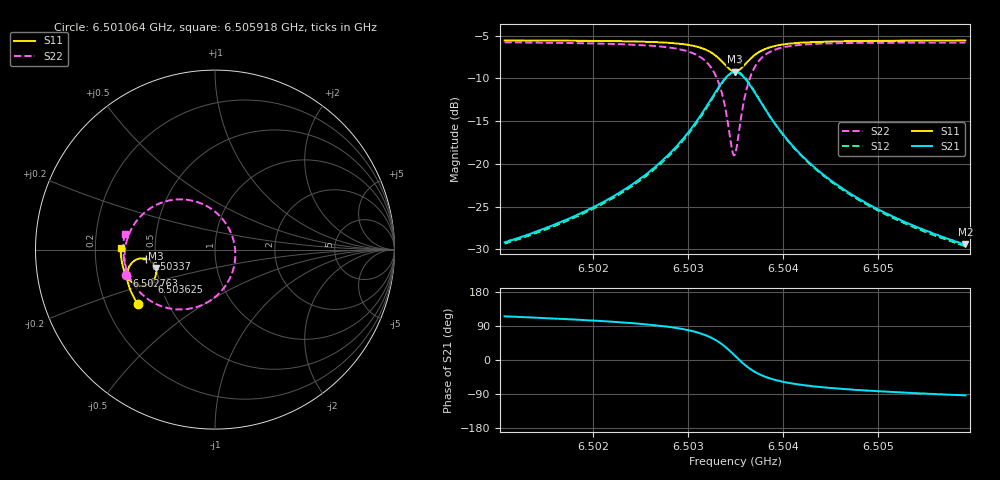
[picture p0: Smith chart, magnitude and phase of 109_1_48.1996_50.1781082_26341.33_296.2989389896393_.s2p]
#  HZ  S  RI  R  50.00
! Rohde & Schwarz Vector Network Analyzer
! Rohde-Schwarz,ZNB20-2Port,1311601062101988,3.16
! Created: UTC 3/20/2024, 11:40:54 AM
! freq[Hz]  re:S11  im:S11  re:S21  im:S21  re:S12  im:S12  re:S22  im:S22
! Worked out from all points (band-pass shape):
!   401 points, 6.501064 GHz to 6.505918 GHz, reference 50 ohm
!   highest |S21| = -9.28 dB at 6.503491 GHz (marker M1); lowest = -29.4 dB at 6.505918 GHz (marker M2)
!   |S21| within 3 dB of the highest: 6.503248 GHz to 6.503734 GHz (485.9 kHz wide, 0.00747 % of centre)
!   lowest |S11| = -9.2 dB at 6.503491 GHz (marker M3), VSWR 2.06, Z = 24.7 - j5.78 ohm
!   |S11| at or under -10 dB: nowhere
!   |S22| runs from -19.0 to -5.8 dB; largest |S21 - S12| = 0.012
!   S11 on the Smith chart (normalised r, x): 6.501064 GHz: 0.34, -0.28; 6.502763 GHz: 0.33, -0.13; 6.50337 GHz: 0.44, -0.05; 6.503625 GHz: 0.45, -0.19; 6.505918 GHz: 0.31, +0.01
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6.5010644e9  -0.4315 -0.3018  -0.0148 0.0314  -0.0131 0.0315  -0.4931 -0.1428
6.5018774e9  -0.4656 -0.2406  -0.014 0.0499  -0.0115 0.0493  -0.5043 -0.0542
6.5023263e9  -0.4809 -0.2  -0.0109 0.0699  -0.00781 0.0686  -0.4998 0.012
6.5026903e9  -0.4889 -0.1586  -0.00112 0.1004  0.00253 0.0979  -0.4783 0.0878
6.5027632e9  -0.4895 -0.1485  0.00294 0.1093  0.00672 0.1064  -0.4696 0.1076
6.5029694e9  -0.4856 -0.1151  0.0247 0.1435  0.0283 0.1391  -0.4242 0.1753
6.5031272e9  -0.4705 -0.0828  0.0648 0.1799  0.0675 0.1739  -0.3459 0.2393
6.5032728e9  -0.4321 -0.0532  0.1478 0.2088  0.1485 0.2025  -0.1943 0.28
6.5033213e9  -0.4106 -0.0484  0.1911 0.2072  0.1911 0.2015  -0.1185 0.2707
6.5033699e9  -0.3849 -0.0507  0.2406 0.1916  0.2407 0.1868  -0.0336 0.2352
6.5034548e9  -0.3416 -0.0805  0.3196 0.1155  0.3221 0.1111  0.0925 0.0849
6.5034912e9  -0.3306 -0.1029  0.3372 0.0658  0.3408 0.0602  0.1129 -0.00844
6.5035155e9  -0.3277 -0.1195  0.3405 0.0307  0.3444 0.0238  0.1099 -0.0728
6.5035519e9  -0.3301 -0.1437  0.3328 -0.0201  0.3363 -0.0292  0.0816 -0.1628
6.5036247e9  -0.3526 -0.1813  0.2851 -0.0971  0.285 -0.1089  -0.0309 -0.2871
6.5037217e9  -0.394 -0.201  0.2059 -0.1407  0.2007 -0.151  -0.1927 -0.3336
6.5038795e9  -0.4437 -0.1935  0.1167 -0.1398  0.1093 -0.1454  -0.3547 -0.2887
6.5040494e9  -0.4731 -0.1724  0.0683 -0.1186  0.0616 -0.1211  -0.4334 -0.2206
6.5043042e9  -0.4956 -0.141  0.0349 -0.0915  0.03 -0.0921  -0.4815 -0.1419
6.5046439e9  -0.5106 -0.1047  0.0161 -0.0685  0.0127 -0.0682  -0.5036 -0.0701
6.5051172e9  -0.5207 -0.06  0.00537 -0.05  0.00293 -0.0493  -0.5108 1.51e-05
6.505918e9  -0.5259 0.00839  -0.00198 -0.0337  -0.00336 -0.0328  -0.5034 0.0871
